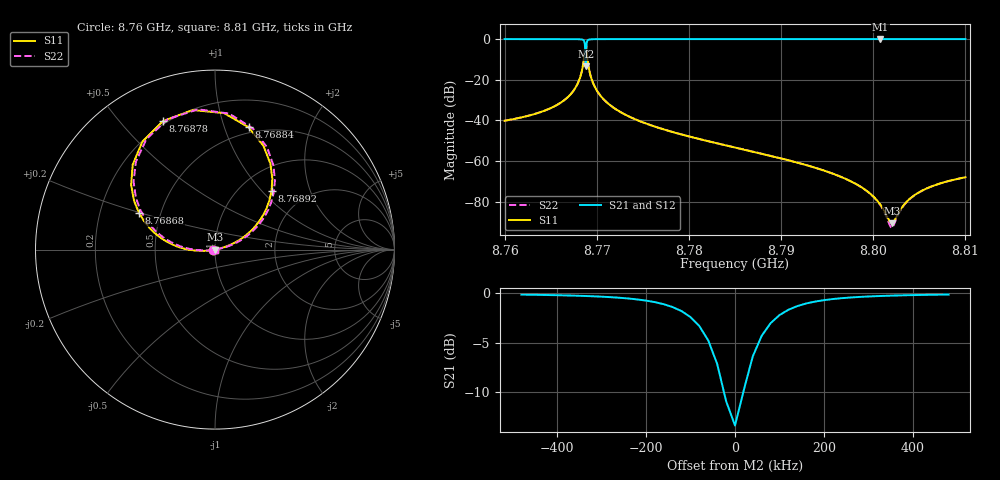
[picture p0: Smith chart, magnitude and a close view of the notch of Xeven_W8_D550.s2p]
! Sonnet Data File
! From: emgraph Version : 16.52
! From Project: Qubit_Xmon2_brg_para
! Data is De-embedded
! Data File Written: 10/25/2017 15:52:26
!< HDATE 10/25/2017 13:56:11
!< MDATE 10/25/2017 13:56:11
!< PARAMS
!< Lj = 11.0
!< Gap = 6.0
!< Pwid = 2000.0
!< Airgap = 6.0
!< Width = 10.0
!< Bwid = 8.0
!< Dis1 = 550.0
!< Dis2 = 556.0
!< END PARAMS
# GHZ S MA R 51.80000
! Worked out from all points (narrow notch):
!   2501 points, 8.76 GHz to 8.81 GHz, reference 51.8 ohm
!   highest |S21| = 0.00 dB at 8.80078 GHz (marker M1); lowest = -13.4 dB at 8.7688 GHz (marker M2)
!   notch at M2: 13.4 dB deep, 82.1 kHz wide at half that depth
!   lowest |S11| = -90.4 dB at 8.802 GHz (marker M3), VSWR 1.00, Z = 51.8 + j0.00308 ohm
!   |S11| at or under -10 dB: start of sweep to 8.768597 GHz; 8.768995 GHz to end of sweep
!   |S22| runs from -92.7 to -2.1 dB; largest |S21 - S12| = 0
!   S11 on the Smith chart (normalised r, x): 8.76 GHz: 0.98, -0.00; 8.76868 GHz: 0.38, +0.20; 8.76878 GHz: 0.18, +0.66; 8.76884 GHz: 0.44, +1.21; 8.76892 GHz: 1.38, +1.14; 8.81 GHz: 1.00, -0.00
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8.76  0.009861 -169.9  0.9999 -80.7  0.9999 -80.7  0.009861 -171.7
!< P1 F=8.76 Eeff=(6.44679147 -2.9786e-5) Z0=(51.7991429 1.19067e-4) R=0.0 C=0.0
!< P2 F=8.76 Eeff=(6.44679147 -2.9786e-5) Z0=(51.7991429 1.19067e-4) R=0.0 C=0.0
8.766  0.02658 -171.1  0.9995 -81.7  0.9995 -81.7  0.02658 -173.1
8.76752  0.05566 -173.2  0.9977 -83.4  0.9977 -83.4  0.05566 -175.3
8.76834  0.1494 179.9  0.9828 -88.8  0.9828 -88.8  0.1494 177.8
8.76868  0.471 154.2  0.812 -108.0  0.812 -108.0  0.471 152.0
8.76878  0.7728 112.0  0.2849 -112.1  0.2849 -112.1  0.7728 109.9
8.7688  0.7873 99.0  0.2145 -73.7  0.2145 -73.7  0.7873 96.9
8.76884  0.7068 74.7  0.48 -39.8  0.48 -39.8  0.7068 72.6
8.76892  0.4547 46.1  0.8252 -53.5  0.8252 -53.5  0.4547 44.0
8.76908  0.2301 27.9  0.9581 -67.0  0.9581 -67.0  0.2301 25.7
8.76958  0.08512 17.1  0.9943 -75.4  0.9943 -75.4  0.08512 14.9
8.7708  0.03218 13.3  0.9992 -78.4  0.9992 -78.4  0.03218 11.0
8.77668  0.006645 11.5  1 -79.9  1 -79.9  0.006644 9.0
8.785  0.002173 11.7  1 -80.3  1 -80.3  0.002172 8.2
8.79334  0.000732 13.1  1 -80.4  1 -80.4  0.0007316 6.8
8.79778  0.0003037 16.3  1 -80.5  1 -80.5  0.000303 4.1
8.80078  8.511e-05 31.3  1 -80.5  1 -80.5  8.28e-05 -7.9
8.80168  3.655e-05 66.0  1 -80.5  1 -80.5  3.108e-05 -40.1
8.802  3.011e-05 99.5  1 -80.5  1 -80.5  2.33e-05 -80.6
8.80356  9.726e-05 172.5  1 -80.6  1 -80.6  9.551e-05 -157.4
8.80614  0.0002313 -177.0  1 -80.6  1 -80.6  0.0002307 -165.8
8.81  0.0004033 -173.8  1 -80.7  1 -80.7  0.000403 -168.3
